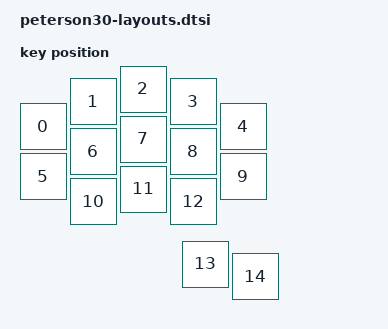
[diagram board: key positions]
#include <physical_layouts.dtsi>

/ {
    physical_layout0: physical_layout_0 {
        compatible = "zmk,physical-layout";
        display-name = "Default";

        keys  //                     w   h    x    y     rot    rx    ry
            = <&key_physical_attrs 100 100    0   75       0     0     0>
            , <&key_physical_attrs 100 100  100   25       0     0     0>
            , <&key_physical_attrs 100 100  200    0       0     0     0>
            , <&key_physical_attrs 100 100  300   25       0     0     0>
            , <&key_physical_attrs 100 100  400   75       0     0     0>
            , <&key_physical_attrs 100 100    0  175       0     0     0>
            , <&key_physical_attrs 100 100  100  125       0     0     0>
            , <&key_physical_attrs 100 100  200  100       0     0     0>
            , <&key_physical_attrs 100 100  300  125       0     0     0>
            , <&key_physical_attrs 100 100  400  175       0     0     0>
            , <&key_physical_attrs 100 100  100  225       0     0     0>
            , <&key_physical_attrs 100 100  200  200       0     0     0>
            , <&key_physical_attrs 100 100  300  225       0     0     0>
            , <&key_physical_attrs 100 100  325  350       0     0     0>
            , <&key_physical_attrs 100 100  425  375       0     0     0>
            ;
    };
};
